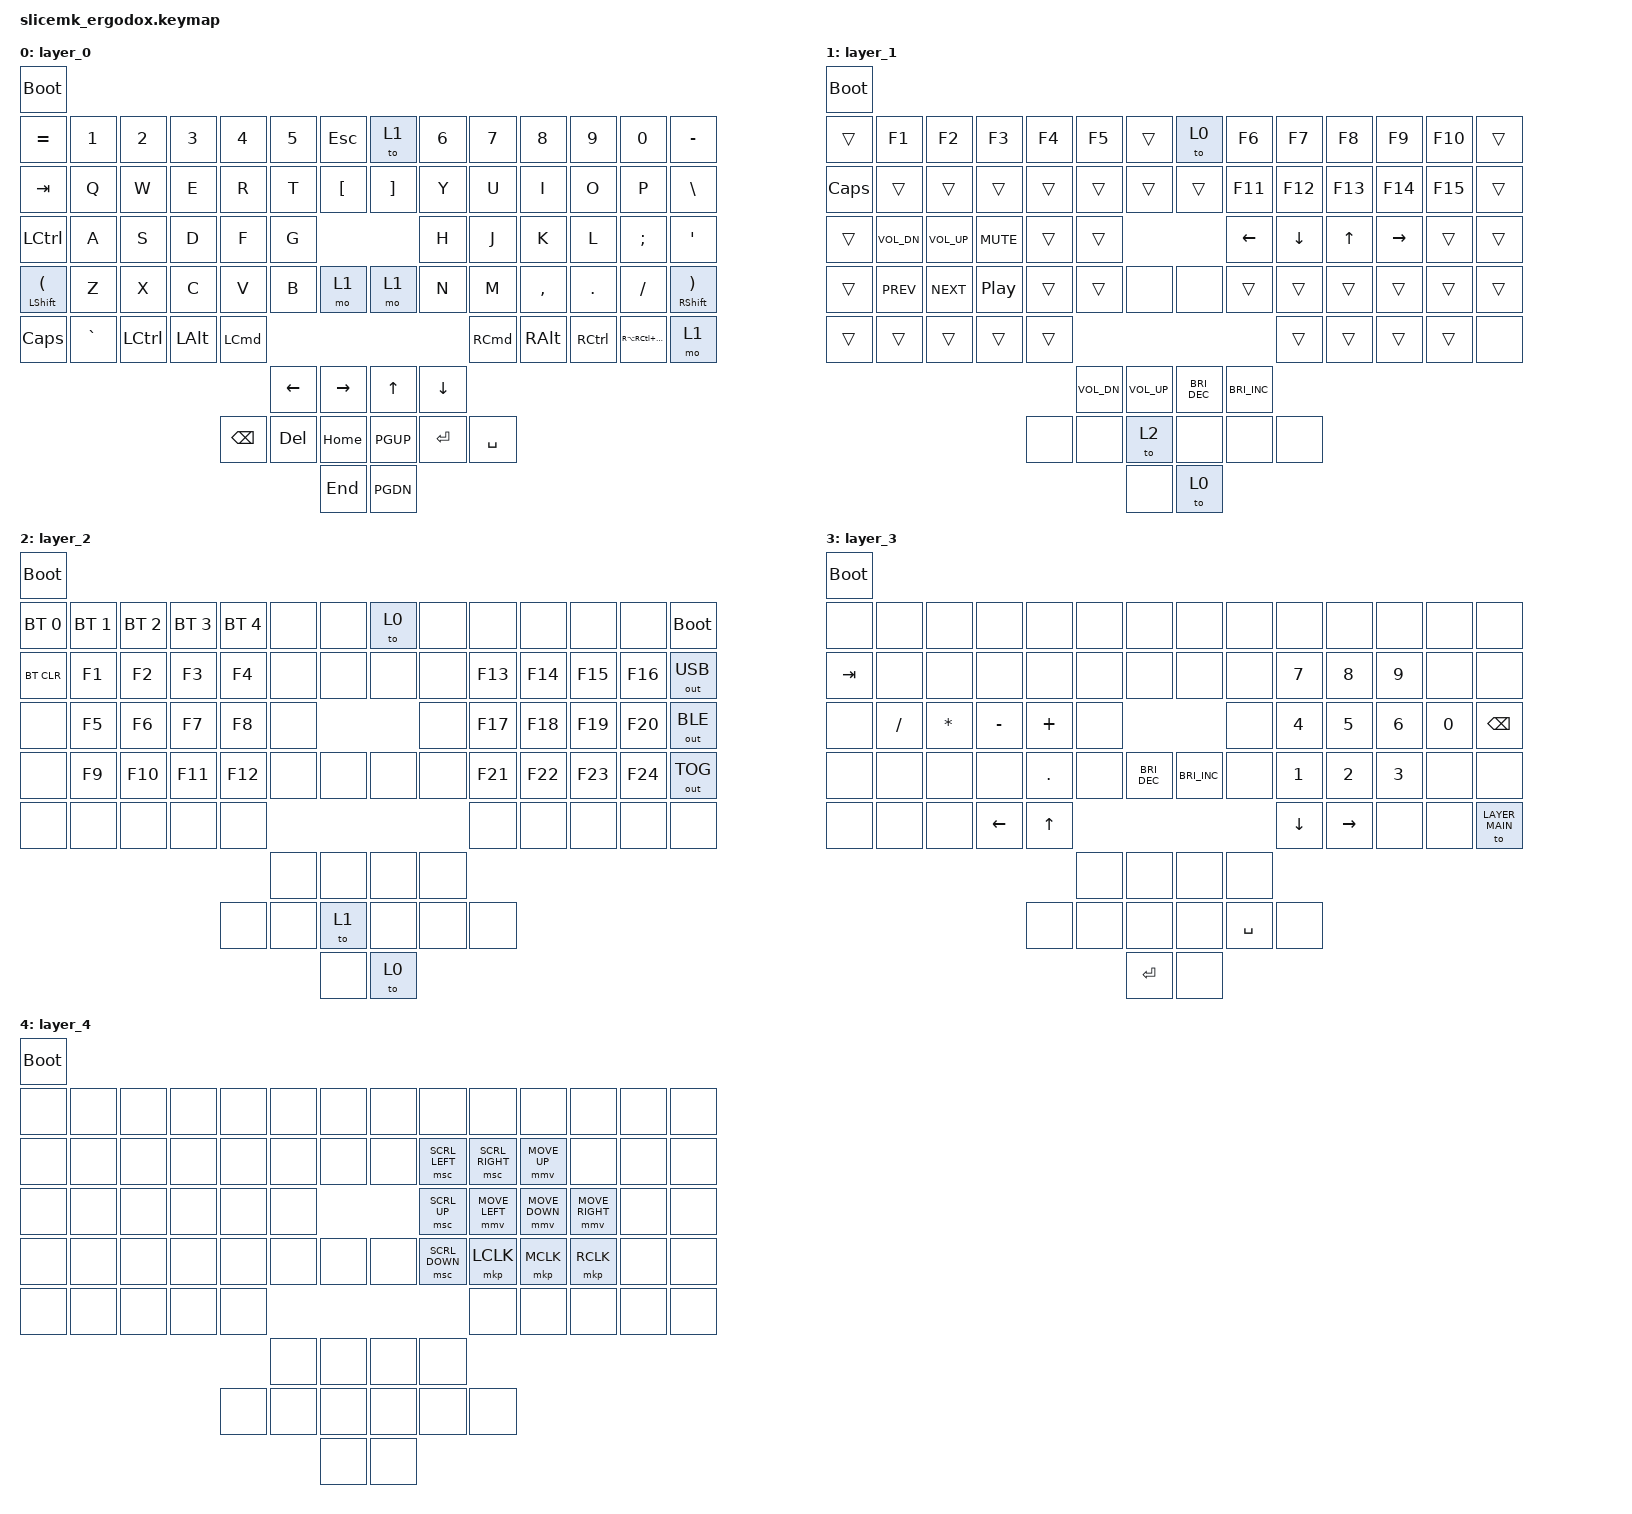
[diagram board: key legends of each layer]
#include <behaviors.dtsi>
#include <dt-bindings/zmk/bt.h>
#include <dt-bindings/zmk/keys.h>
#include <dt-bindings/zmk/mouse.h>
#include <dt-bindings/zmk/outputs.h>

#define LAYER_MAIN 0
#define LAYER_FN 1
#define LAYER_SYMB 2
#define LAYER_NMPAD 3
#define LAYER_MOUSE 4

/ {
	keymap {
		compatible = "zmk,keymap";
		layer_0 {
			bindings = <
				&bootloader
				&kp EQUAL       &kp NUMBER_1 &kp NUMBER_2 &kp NUMBER_3 &kp NUMBER_4 &kp NUMBER_5 &kp ESC   &to 1    &kp NUMBER_6 &kp NUMBER_7 &kp NUMBER_8 &kp NUMBER_9 &kp NUMBER_0     &kp MINUS
				&kp TAB         &kp Q        &kp W        &kp E        &kp R        &kp T        &kp LBKT  &kp RBKT &kp Y        &kp U        &kp I        &kp O        &kp P            &kp BSLH
				&kp LCTRL       &kp A        &kp S        &kp D        &kp F        &kp G                           &kp H        &kp J        &kp K        &kp L        &kp SEMICOLON    &kp SQT
				&mt LSHIFT LPAR &kp Z        &kp X        &kp C        &kp V        &kp B        &mo 1     &mo 1    &kp N        &kp M        &kp CMMA     &kp DOT      &kp FSLH         &mt RSHIFT RPAR
				&kp CAPS        &kp GRAV     &kp LCTRL    &kp LALT     &kp LCMD                                                  &kp RCMD     &kp RALT     &kp RCTRL    &kp RA(RC(RGUI)) &mo 1
				                                                                    &kp LEFT     &kp RIGHT &kp UP   &kp DOWN
				                                                       &kp BKSP     &kp DEL      &kp HOME  &kp PGUP &kp RET      &kp SPC
				                                                                                 &kp END   &kp PGDN
			>;
		};

		layer_1 {
			bindings = <
				&bootloader
				&trans   &kp F1       &kp F2       &kp F3     &kp F4 &kp F5       &trans       &to 0                &kp F6               &kp F7   &kp F8  &kp F9               &kp F10              &trans
				&kp CAPS &trans       &trans       &trans     &trans &trans       &trans       &trans               &kp F11              &kp F12  &kp F13 &kp F14              &kp F15              &trans
				&trans   &kp C_VOL_DN &kp C_VOL_UP &kp C_MUTE &trans &trans                                         &kp LEFT             &kp DOWN &kp UP  &kp RIGHT            &trans               &trans
				&trans   &kp C_PREV   &kp C_NEXT   &kp C_PP   &trans &trans       &none        &none                &trans               &trans   &trans  &trans               &trans               &trans
				&trans   &trans       &trans       &trans     &trans                                                                     &trans   &trans  &trans               &trans               &none
				                                                     &kp C_VOL_DN &kp C_VOL_UP &kp C_BRIGHTNESS_DEC &kp C_BRIGHTNESS_INC
				                                              &none  &none        &to 2        &none                &none                &none
				                                                                  &none        &to 0
			>;
		};
		layer_2 {
			bindings = <
				&bootloader
				&bt BT_SEL 0 &bt BT_SEL 1 &bt BT_SEL 2 &bt BT_SEL 3 &bt BT_SEL 4 &none &none &to 0 &none &none   &none   &none   &none   &bootloader
				&bt BT_CLR   &kp F1       &kp F2       &kp F3       &kp F4       &none &none &none &none &kp F13 &kp F14 &kp F15 &kp F16 &out OUT_USB
				&none        &kp F5       &kp F6       &kp F7       &kp F8       &none             &none &kp F17 &kp F18 &kp F19 &kp F20 &out OUT_BLE
				&none        &kp F9       &kp F10      &kp F11      &kp F12      &none &none &none &none &kp F21 &kp F22 &kp F23 &kp F24 &out OUT_TOG
				&none        &none        &none        &none        &none                                &none   &none   &none   &none   &none
				                                                                 &none &none &none &none
				                                                    &none        &none &to 1 &none &none &none
				                                                                       &none &to 0
			>;
		};
		layer_3 {
			bindings = <
				&bootloader
				&none   &none     &none        &none          &none        &none &none                &none                &none     &none          &none           &none        &none        &none
				&kp TAB &none     &none        &none          &none        &none &none                &none                &none     &kp NUMBER_7   &kp NUMBER_8    &kp NUMBER_9 &none        &none
				&none   &kp SLASH &kp ASTERISK &kp MINUS      &kp PLUS     &none                                           &none     &kp NUMBER_4   &kp NUMBER_5    &kp NUMBER_6 &kp NUMBER_0 &kp BACKSPACE
				&none   &none     &none        &none          &kp PERIOD   &none &kp C_BRIGHTNESS_DEC &kp C_BRIGHTNESS_INC &none     &kp NUMBER_1   &kp NUMBER_2    &kp NUMBER_3 &none        &none
				&none   &none     &none        &kp LEFT_ARROW &kp UP_ARROW                                                           &kp DOWN_ARROW &kp RIGHT_ARROW &none        &none        &to LAYER_MAIN
				                                                           &none &none                &none                &none
				                                              &none        &none &none                &none                &kp SPACE &none
				                                                                 &kp RETURN           &none
			>;
		};

		layer_4 {
			bindings = <
				&bootloader
				&none &none &none &none &none &none &none &none &none          &none           &none          &none           &none &none
				&none &none &none &none &none &none &none &none &msc SCRL_LEFT &msc SCRL_RIGHT &mmv MOVE_UP   &none           &none &none
				&none &none &none &none &none &none             &msc SCRL_UP   &mmv MOVE_LEFT  &mmv MOVE_DOWN &mmv MOVE_RIGHT &none &none
				&none &none &none &none &none &none &none &none &msc SCRL_DOWN &mkp LCLK       &mkp MCLK      &mkp RCLK       &none &none
				&none &none &none &none &none                                  &none           &none          &none           &none &none
				                              &none &none &none &none
				                        &none &none &none &none &none          &none
				                                    &none &none
			>;
		};
	};
};
